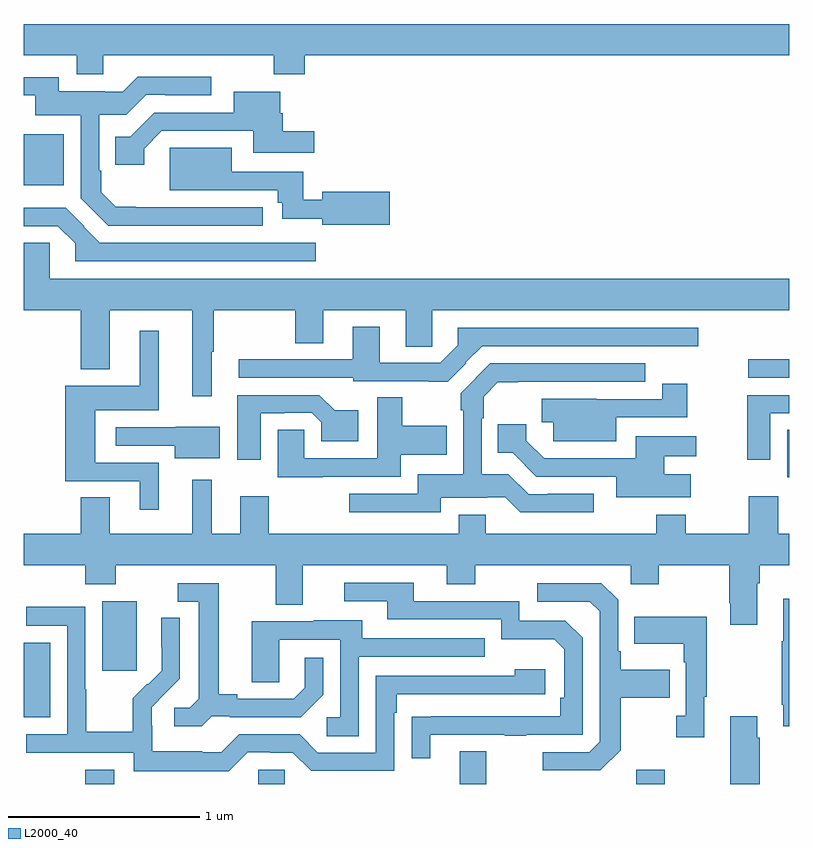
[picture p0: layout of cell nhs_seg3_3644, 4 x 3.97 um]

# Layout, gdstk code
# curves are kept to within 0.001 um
import gdstk
lib = gdstk.Library(unit=1e-6, precision=1e-09)
def R(c, l, rs):  # rectangles x0, y0, x1, y1
    for r in rs: c.add(gdstk.rectangle(r[:2], r[2:], *l))
def P(c, l, *ps):  # polygons
    for p in ps: c.add(gdstk.Polygon(p, *l))
L2000_40 = (2000, 40)

nhs_seg3_3644 = lib.new_cell('nhs_seg3_3644')
R(nhs_seg3_3644, L2000_40, [(299.321,738.4,299.473,738.475), (300.225,738.4,300.363,738.474), (301.277,738.4,301.417,738.571), (302.201,738.4,302.349,738.475), (299,738.749,299.137,739.138), (299.411,738.993,299.59,739.354), (302.99,740.002,303,740.252), (302.787,740.523,303,740.619), (299,741.53,299.209,741.796)])
P(nhs_seg3_3644, L2000_40, [(299.416,742.208),(300.307,742.208),(300.307,742.109),(300.467,742.109),(300.467,742.208),(303,742.208),(303,742.372),(299,742.372),(299,742.208),(299.276,742.208),(299.276,742.109),(299.416,742.109)],
  [(300.25,741.413),(299.584,741.414),(299.584,741.417),(299.48,741.417),(299.404,741.492),(299.404,741.604),(299.394,741.604),(299.394,741.897),(299.535,741.897),(299.64,742.002),(299.74,742.002),(299.74,741.999),(299.98,741.999),(299.98,742.096),(299.596,742.096),(299.517,742.017),(299.423,742.017),(299.423,742.021),(299.182,742.021),(299.182,742.095),(299,742.095),(299,741.999),(299.06,741.999),(299.06,741.896),(299.298,741.896),(299.298,741.461),(299.441,741.318),(300.25,741.318)],
  [(299.629,741.721),(299.721,741.813),(300.2,741.813),(300.2,741.698),(300.517,741.698),(300.517,741.812),(300.353,741.812),(300.353,741.906),(300.34,741.906),(300.34,742.018),(300.098,742.018),(300.098,741.909),(299.681,741.909),(299.556,741.784),(299.479,741.784),(299.479,741.636),(299.629,741.636)],
  [(300.913,741.494),(300.56,741.494),(300.56,741.453),(300.46,741.453),(300.46,741.6),(300.088,741.6),(300.088,741.724),(299.762,741.724),(299.762,741.503),(299.984,741.503),(299.984,741.504),(300.327,741.504),(300.327,741.438),(300.35,741.438),(300.35,741.354),(300.56,741.354),(300.56,741.323),(300.913,741.323)],
  [(300.526,741.228),(299.397,741.228),(299.312,741.313),(299.315,741.316),(299.22,741.411),(299,741.411),(299,741.315),(299.178,741.315),(299.269,741.225),(299.269,741.132),(300.526,741.132)],
  [(299.983,740.66),(299.993,740.66),(299.993,740.876),(300.418,740.876),(300.418,740.704),(300.565,740.704),(300.565,740.876),(300.995,740.876),(300.995,740.686),(301.134,740.686),(301.134,740.876),(303,740.876),(303,741.04),(299.136,741.04),(299.136,741.23),(299,741.23),(299,740.876),(299.297,740.876),(299.297,740.567),(299.449,740.567),(299.449,740.876),(299.879,740.876),(299.879,740.427),(299.983,740.427)],
  [(301.313,740.6),(301.31,740.603),(301.395,740.688),(302.524,740.688),(302.524,740.784),(301.267,740.784),(301.267,740.692),(301.176,740.601),(300.859,740.601),(300.859,740.791),(300.719,740.791),(300.719,740.619),(300.123,740.619),(300.123,740.523),(300.723,740.523),(300.723,740.505),(301.115,740.505),(301.115,740.503),(301.215,740.503)],
  [(299.704,740.079),(299.374,740.079),(299.374,740.354),(299.704,740.354),(299.704,740.77),(299.606,740.77),(299.606,740.482),(299.216,740.482),(299.216,739.983),(299.606,739.983),(299.606,739.833),(299.704,739.833)],
  [(301.978,739.917),(301.738,739.917),(301.738,739.914),(301.638,739.914),(301.533,740.019),(301.392,740.019),(301.392,740.312),(301.403,740.312),(301.403,740.424),(301.478,740.5),(301.582,740.5),(301.582,740.502),(302.248,740.502),(302.248,740.598),(301.439,740.598),(301.284,740.443),(301.284,740.354),(301.296,740.354),(301.296,740.02),(301.058,740.02),(301.058,739.917),(300.702,739.917),(300.702,739.821),(301.18,739.821),(301.18,739.895),(301.421,739.895),(301.421,739.899),(301.515,739.899),(301.594,739.82),(301.978,739.82)],
  [(302.095,740.316),(302.467,740.316),(302.467,740.491),(302.336,740.491),(302.336,740.412),(301.991,740.412),(301.991,740.413),(301.707,740.413),(301.707,740.291),(301.766,740.291),(301.766,740.192),(302.095,740.192)],
  [(300.238,740.337),(300.362,740.337),(300.362,740.34),(300.504,740.34),(300.554,740.29),(300.554,740.192),(300.748,740.192),(300.748,740.353),(300.624,740.353),(300.544,740.433),(300.116,740.433),(300.116,740.094),(300.238,740.094)],
  [(302.902,740.337),(303,740.337),(303,740.433),(302.78,740.433),(302.78,740.094),(302.902,740.094)],
  [(300.562,740.007),(300.97,740.007),(300.97,740.12),(301.211,740.12),(301.211,740.272),(300.978,740.272),(300.978,740.42),(300.848,740.42),(300.848,740.103),(300.465,740.103),(300.465,740.252),(300.326,740.252),(300.326,740.002),(300.562,740.002)],
  [(302.485,740.02),(302.346,740.02),(302.346,740.114),(302.515,740.114),(302.515,740.218),(302.198,740.218),(302.198,740.103),(301.719,740.103),(301.627,740.195),(301.627,740.28),(301.477,740.28),(301.477,740.132),(301.554,740.132),(301.679,740.007),(302.096,740.007),(302.096,739.898),(302.485,739.898)],
  [(300.025,740.266),(299.793,740.266),(299.793,740.265),(299.481,740.265),(299.481,740.169),(299.789,740.169),(299.789,740.102),(300.025,740.102)],
  [(299.297,739.708),(299,739.708),(299,739.544),(299.321,739.544),(299.321,739.445),(299.481,739.445),(299.481,739.544),(300.317,739.544),(300.317,739.336),(300.457,739.336),(300.457,739.544),(301.211,739.544),(301.211,739.445),(301.359,739.445),(301.359,739.544),(302.172,739.544),(302.172,739.445),(302.319,739.445),(302.319,739.544),(302.686,739.544),(302.686,739.345),(302.693,739.345),(302.693,739.233),(302.833,739.233),(302.833,739.448),(302.846,739.448),(302.846,739.544),(303,739.544),(303,739.708),(302.943,739.708),(302.943,739.903),(302.788,739.903),(302.788,739.708),(302.46,739.708),(302.46,739.807),(302.305,739.807),(302.305,739.708),(301.414,739.708),(301.414,739.807),(301.274,739.807),(301.274,739.708),(300.279,739.708),(300.279,739.903),(300.131,739.903),(300.131,739.708),(299.983,739.708),(299.983,739.99),(299.879,739.99),(299.879,739.708),(299.449,739.708),(299.449,739.898),(299.297,739.898)],
  [(301.123,738.657),(301.513,738.657),(301.513,738.652),(301.625,738.652),(301.625,738.657),(301.92,738.657),(301.92,739.164),(301.83,739.254),(301.59,739.254),(301.59,739.356),(301.039,739.356),(301.039,739.452),(300.675,739.452),(300.675,739.356),(300.899,739.356),(300.899,739.26),(301.494,739.26),(301.494,739.157),(301.771,739.157),(301.824,739.104),(301.824,738.85),(301.804,738.85),(301.804,738.753),(301.027,738.752),(301.027,738.534),(301.123,738.534)],
  [(299.982,738.753),(300.076,738.753),(300.076,738.75),(300.448,738.75),(300.564,738.866),(300.564,739.06),(300.467,739.06),(300.467,738.903),(300.41,738.846),(300.115,738.846),(300.115,738.869),(300.019,738.869),(300.019,739.449),(299.805,739.449),(299.805,739.353),(299.915,739.353),(299.915,738.845),(299.868,738.798),(299.787,738.798),(299.787,738.701),(299.93,738.701)],
  [(302.119,738.577),(302.119,738.85),(302.375,738.85),(302.375,738.997),(302.119,738.997),(302.119,739.093),(302.106,739.093),(302.106,739.362),(302.019,739.449),(301.683,739.449),(301.683,739.353),(301.959,739.353),(302.01,739.302),(302.01,738.621),(301.956,738.567),(301.713,738.567),(301.713,738.471),(302.013,738.471)],
  [(303,739.369),(302.969,739.369),(302.969,739.145),(302.962,739.145),(302.962,738.814),(302.969,738.814),(302.969,738.702),(303,738.702)],
  [(300.171,738.567),(300.287,738.567),(300.287,738.564),(300.405,738.564),(300.501,738.468),(300.936,738.468),(300.936,738.773),(300.949,738.773),(300.949,738.87),(301.726,738.87),(301.726,739),(301.565,739),(301.565,738.966),(300.84,738.966),(300.84,738.564),(300.537,738.564),(300.441,738.66),(300.126,738.66),(300.033,738.567),(299.933,738.567),(299.933,738.571),(299.67,738.571),(299.67,738.705),(299.668,738.705),(299.668,738.802),(299.814,738.95),(299.814,739.268),(299.718,739.268),(299.718,739.114),(299.72,739.114),(299.72,738.992),(299.649,738.921),(299.646,738.924),(299.569,738.847),(299.569,738.673),(299.325,738.673),(299.325,738.896),(299.322,738.896),(299.322,739.326),(299.013,739.326),(299.013,739.227),(299.226,739.227),(299.226,738.66),(299.013,738.66),(299.013,738.564),(299.574,738.564),(299.574,738.467),(300.071,738.467)],
  [(302.557,738.857),(302.569,738.857),(302.569,739.273),(302.191,739.273),(302.191,739.133),(302.448,739.133),(302.448,739.037),(302.46,739.037),(302.46,738.758),(302.409,738.758),(302.409,738.645),(302.557,738.645)],
  [(300.75,739.065),(301.409,739.065),(301.409,739.161),(300.769,739.161),(300.769,739.255),(300.515,739.255),(300.515,739.251),(300.191,739.251),(300.191,738.931),(300.336,738.931),(300.336,739.155),(300.654,739.155),(300.654,738.75),(300.582,738.75),(300.582,738.649),(300.75,738.649)],
  [(302.846,738.641),(302.833,738.641),(302.833,738.754),(302.693,738.754),(302.693,738.4),(302.846,738.4)])

lib.write_gds('nhs_seg3_3644.gds')
